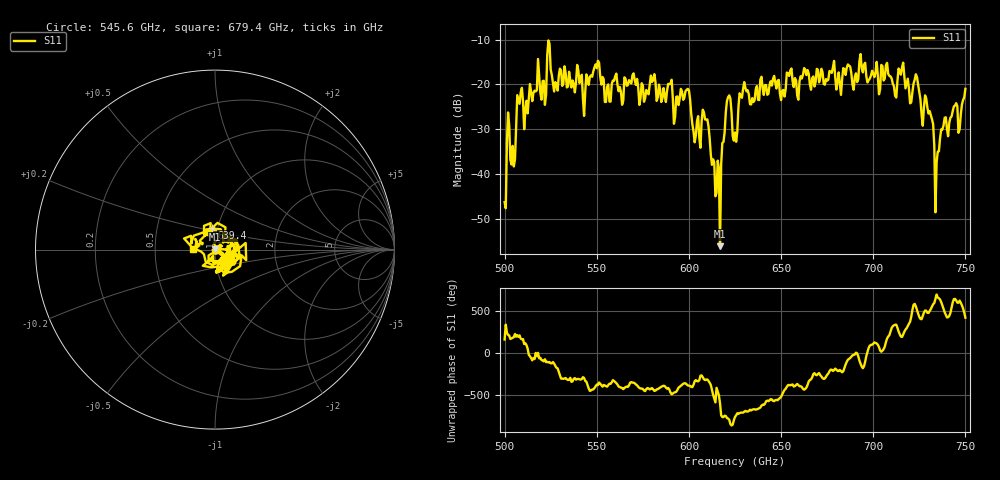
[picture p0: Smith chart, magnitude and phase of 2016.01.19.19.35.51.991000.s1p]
!Created with skrf (http://scikit-rf.org).
# GHz S RI R 50.0
!freq ReS11 ImS11
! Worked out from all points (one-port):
!   401 points, 500 GHz to 750 GHz, reference 50 ohm
!   lowest |S11| = -56.1 dB at 616.9 GHz (marker M1), VSWR 1.00, Z = 49.9 + j0.126 ohm
!   |S11| at or under -10 dB: start of sweep to end of sweep
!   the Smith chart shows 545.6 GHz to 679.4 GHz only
!   S11 on the Smith chart (normalised r, x): 545.6 GHz: 1.10, -0.18; 639.4 GHz: 0.94, +0.23; 679.4 GHz: 0.78, +0.01
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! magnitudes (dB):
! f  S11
! 500 GHz  -46.3
! 502.5 GHz  -29.2
! 504.4 GHz  -33.7
! 508.1 GHz  -24.3
! 521.2 GHz  -19.2
! 524.4 GHz  -10.9
! 527.5 GHz  -19.5
! 531.2 GHz  -20.3
! 545.6 GHz  -20.1
! 562.5 GHz  -20.6
! 593.8 GHz  -22.7
! 599.4 GHz  -21.0
! 603.1 GHz  -32.9
! 608.8 GHz  -27.8
! 615.6 GHz  -37.0
! 616.9 GHz  -56.1
! 621.2 GHz  -22.8
! 625 GHz  -30.7
! 628.8 GHz  -23.0
! 639.4 GHz  -18.3
! 656.2 GHz  -19.3
! 679.4 GHz  -18.4
! 687.5 GHz  -16.0
! 718.8 GHz  -18.7
! 729.4 GHz  -25.2
! 734.4 GHz  -37.5
! 738.1 GHz  -29.2
! 750 GHz  -21.0
